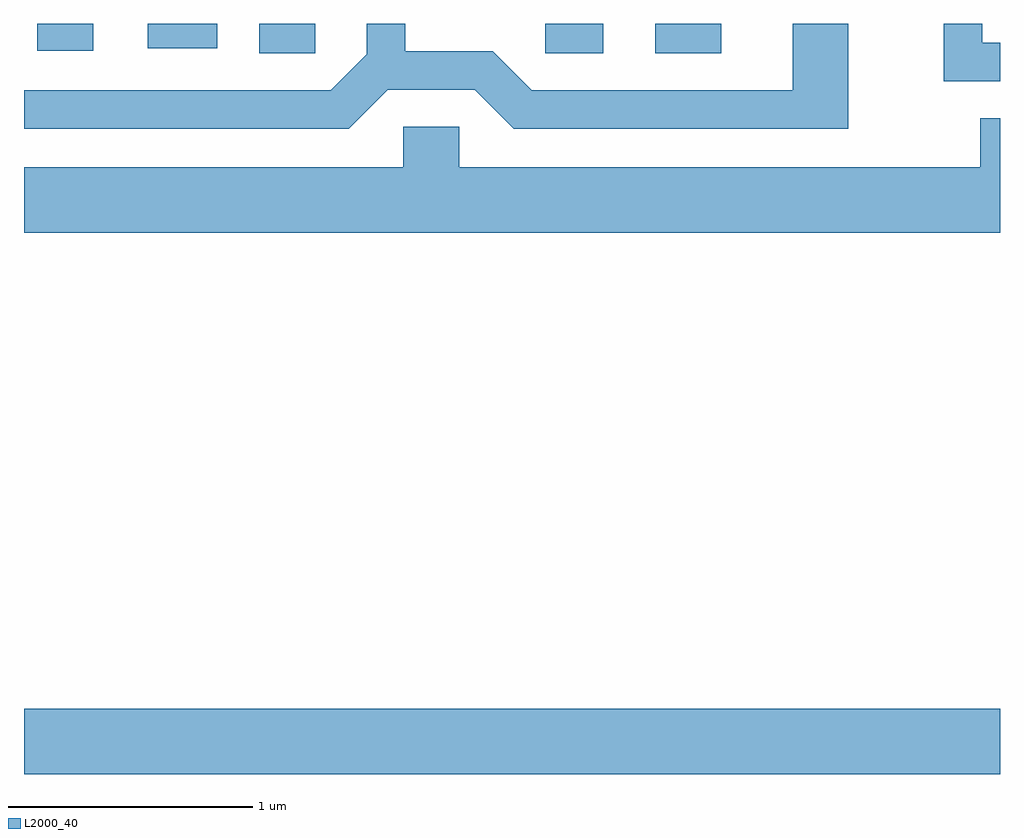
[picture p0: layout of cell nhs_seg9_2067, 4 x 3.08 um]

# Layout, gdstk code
import gdstk
lib = gdstk.Library(unit=1e-6, precision=1e-09)
def R(c, l, rs):  # rectangles x0, y0, x1, y1
    for r in rs: c.add(gdstk.rectangle(r[:2], r[2:], *l))
def P(c, l, *ps):  # polygons
    for p in ps: c.add(gdstk.Polygon(p, *l))
L2000_40 = (2000, 40)

nhs_seg9_2067 = lib.new_cell('nhs_seg9_2067')
R(nhs_seg9_2067, L2000_40, [(245.611,2007.356,249.611,2007.624), (246.576,2010.311,246.804,2010.432), (247.748,2010.311,247.984,2010.432), (248.198,2010.311,248.469,2010.432), (245.666,2010.321,245.894,2010.432), (246.118,2010.331,246.404,2010.432)])
P(nhs_seg9_2067, L2000_40, [(247.102,2010.161),(247.459,2010.161),(247.619,2010.001),(248.989,2010.001),(248.989,2010.432),(248.761,2010.432),(248.761,2010.159),(247.692,2010.159),(247.532,2010.319),(247.174,2010.319),(247.174,2010.432),(247.016,2010.432),(247.016,2010.307),(246.869,2010.159),(245.611,2010.159),(245.611,2010.001),(246.942,2010.001)],
  [(249.611,2010.354),(249.539,2010.354),(249.539,2010.432),(249.381,2010.432),(249.381,2010.196),(249.611,2010.196)],
  [(249.611,2010.044),(249.531,2010.044),(249.531,2009.844),(247.394,2009.844),(247.394,2010.009),(247.166,2010.009),(247.166,2009.844),(245.611,2009.844),(245.611,2009.576),(249.611,2009.576)])

lib.write_gds('nhs_seg9_2067.gds')
